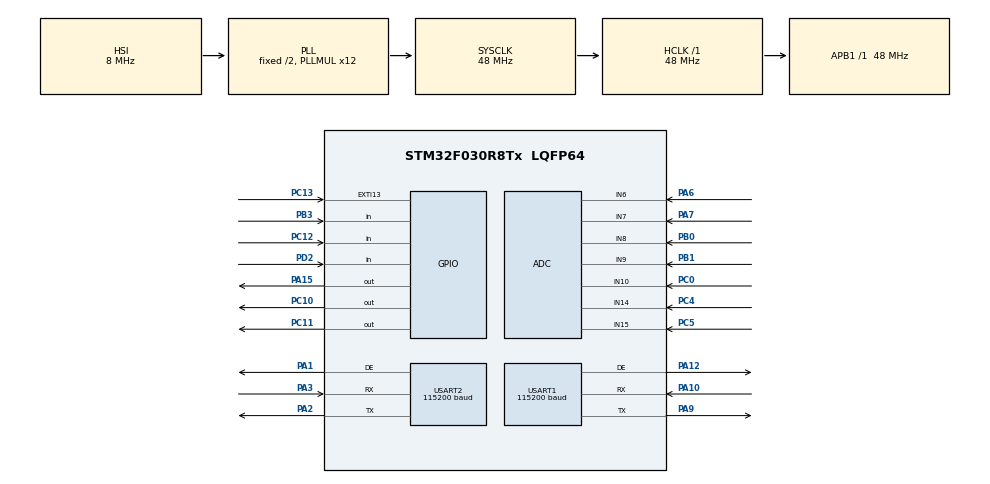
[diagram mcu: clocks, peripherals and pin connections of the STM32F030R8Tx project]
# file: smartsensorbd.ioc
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ADC.ClockPrescaler=ADC_CLOCK_ASYNC_DIV1
ADC.ContinuousConvMode=ENABLE
ADC.DMAContinuousRequests=ENABLE
ADC.EnableAnalogWatchDog=false
ADC.SamplingTime=ADC_SAMPLETIME_239CYCLES_5
ADC.ScanConvMode=ADC_SCAN_DIRECTION_FORWARD
Dma.ADC.0.Direction=DMA_PERIPH_TO_MEMORY
Dma.ADC.0.Instance=DMA1_Channel1
Dma.ADC.0.MemDataAlignment=DMA_MDATAALIGN_HALFWORD
Dma.ADC.0.MemInc=DMA_MINC_ENABLE
Dma.ADC.0.Mode=DMA_CIRCULAR
Dma.ADC.0.PeriphDataAlignment=DMA_PDATAALIGN_HALFWORD
Dma.ADC.0.PeriphInc=DMA_PINC_DISABLE
Dma.ADC.0.Priority=DMA_PRIORITY_LOW
Dma.Request0=ADC
Mcu.Family=STM32F0
Mcu.Name=STM32F030R8Tx
Mcu.Package=LQFP64
NVIC.DMA1_Channel1_IRQn=true\:0\:0\:false\:false\:true\:false\:true\:true
NVIC.USART1_IRQn=true\:0\:0\:false\:false\:true\:true\:true\:true
NVIC.USART2_IRQn=true\:0\:0\:false\:false\:true\:true\:true\:true
PA1.Mode=Hardware Flow Control (RS485)
PA1.Signal=USART2_DE
PA10.Mode=Asynchronous
PA10.Signal=USART1_RX
PA12.Mode=Hardware Flow Control (RS485)
PA12.Signal=USART1_DE
PA13.Mode=Serial_Wire
PA13.Signal=SYS_SWDIO
PA14.Mode=Serial_Wire
PA14.Signal=SYS_SWCLK
PA15.Signal=GPIO_Output
PA2.Mode=Asynchronous
PA2.Signal=USART2_TX
PA3.Mode=Asynchronous
PA3.Signal=USART2_RX
PA6.Mode=IN6
PA6.Signal=ADC_IN6
PA7.Mode=IN7
PA7.Signal=ADC_IN7
PA9.Mode=Asynchronous
PA9.Signal=USART1_TX
PB0.Mode=IN8
PB0.Signal=ADC_IN8
PB1.Mode=IN9
PB1.Signal=ADC_IN9
PB3.Signal=GPIO_Input
PC0.Mode=IN10
PC0.Signal=ADC_IN10
PC10.Signal=GPIO_Output
PC11.Signal=GPIO_Output
PC12.Signal=GPIO_Input
PC13.Signal=GPXTI13
PC4.Mode=IN14
PC4.Signal=ADC_IN14
PC5.Mode=IN15
PC5.Signal=ADC_IN15
PD2.Signal=GPIO_Input
PF0-OSC_IN.Mode=HSE-External-Oscillator
PF0-OSC_IN.Signal=RCC_OSC_IN
PF1-OSC_OUT.Mode=HSE-External-Oscillator
PF1-OSC_OUT.Signal=RCC_OSC_OUT
ProjectManager.HeapSize=0x200
ProjectManager.StackSize=0x400
ProjectManager.TargetToolchain=STM32CubeIDE
RCC.AHBFreq_Value=48000000
RCC.APB1Freq_Value=48000000
RCC.APB1TimFreq_Value=48000000
RCC.HCLKFreq_Value=48000000
RCC.PLLMUL=RCC_PLL_MUL12
RCC.SYSCLKFreq_VALUE=48000000
RCC.SYSCLKSource=RCC_SYSCLKSOURCE_PLLCLK
RCC.Usart1ClockSelection=RCC_USART1CLKSOURCE_HSI
USART1.BaudRate=115200
USART1.VirtualMode-Asynchronous=VM_ASYNC
USART1.VirtualMode-Hardware\ Flow\ Control\ (RS485)=VM_ASYNC
USART2.BaudRate=115200
USART2.VirtualMode-Asynchronous=VM_ASYNC
USART2.VirtualMode-Hardware\ Flow\ Control\ (RS485)=VM_ASYNC
board=custom

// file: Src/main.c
/* USER CODE BEGIN Header */
/**
  ******************************************************************************
  * @file           : main.c
  * @brief          : Main program body
  ******************************************************************************
  * @attention
  *
  * Copyright (c) 2023 STMicroelectronics.
  * All rights reserved.
  *
  * This software is licensed under terms that can be found in the LICENSE file
  * in the root directory of this software component.
  * If no LICENSE file comes with this software, it is provided AS-IS.
  *
  ******************************************************************************
  */
/* USER CODE END Header */
#include "main.h"

/* USER CODE BEGIN Includes */
#include "RS485.h"
#include "RS485_2.h"
#include "keyscan.h"
/* USER CODE END Includes */

ADC_HandleTypeDef hadc;
DMA_HandleTypeDef hdma_adc;

UART_HandleTypeDef huart1;
UART_HandleTypeDef huart2;

void SystemClock_Config(void);
static void MX_GPIO_Init(void);
static void MX_DMA_Init(void);
static void MX_ADC_Init(void);
static void MX_USART1_UART_Init(void);
static void MX_USART2_UART_Init(void);
/* USER CODE BEGIN PFP */
void Timer_Proc(void);
#define UART_TIMEOUT 100
#define BUFFER_SIZE 16

/* USER CODE END PFP */

/* USER CODE BEGIN 0 */
__IO uint16_t RegularConvData_Tab[7] = {0,};

/* USER CODE END 0 */

int main(void)
{

  /* MCU Configuration--------------------------------------------------------*/

  /* Reset of all peripherals, Initializes the Flash interface and the Systick. */
  HAL_Init();

  /* Configure the system clock */
  SystemClock_Config();

  /* Initialize all configured peripherals */
  MX_GPIO_Init();
  MX_DMA_Init();
  MX_ADC_Init();
  /* USER CODE BEGIN 2 */
  MX_USART1_UART_Init();
  MX_USART2_UART_Init();

//  HAL_ADC_Start_DMA(&hadc, (uint32_t *)RegularConvData_Tab, 7);
  /* USER CODE END 2 */

  /* Infinite loop */
  /* USER CODE BEGIN WHILE */
  while (1)
  {
	  Timer_Proc();
	  Rs485_proc();
	  GSen485_2_Proc();
	  keyprocess();
    oputputprocess();
    /* USER CODE END WHILE */

  }
}

void SystemClock_Config(void)
{
  RCC_OscInitTypeDef RCC_OscInitStruct = {0};
  RCC_ClkInitTypeDef RCC_ClkInitStruct = {0};
  RCC_PeriphCLKInitTypeDef PeriphClkInit = {0};

  /** Initializes the RCC Oscillators according to the specified parameters
  * in the RCC_OscInitTypeDef structure.
  */
  RCC_OscInitStruct.OscillatorType = RCC_OSCILLATORTYPE_HSI|RCC_OSCILLATORTYPE_HSI14;
  RCC_OscInitStruct.HSIState = RCC_HSI_ON;
  RCC_OscInitStruct.HSI14State = RCC_HSI14_ON;
  RCC_OscInitStruct.HSICalibrationValue = RCC_HSICALIBRATION_DEFAULT;
  RCC_OscInitStruct.HSI14CalibrationValue = 16;
  RCC_OscInitStruct.PLL.PLLState = RCC_PLL_ON;
  RCC_OscInitStruct.PLL.PLLSource = RCC_PLLSOURCE_HSI;
  RCC_OscInitStruct.PLL.PLLMUL = RCC_PLL_MUL12;
  RCC_OscInitStruct.PLL.PREDIV = RCC_PREDIV_DIV1;
  if (HAL_RCC_OscConfig(&RCC_OscInitStruct) != HAL_OK)
  {
    Error_Handler();
  }

  /** Initializes the CPU, AHB and APB buses clocks
  */
  RCC_ClkInitStruct.ClockType = RCC_CLOCKTYPE_HCLK|RCC_CLOCKTYPE_SYSCLK
                              |RCC_CLOCKTYPE_PCLK1;
  RCC_ClkInitStruct.SYSCLKSource = RCC_SYSCLKSOURCE_PLLCLK;
  RCC_ClkInitStruct.AHBCLKDivider = RCC_SYSCLK_DIV1;
  RCC_ClkInitStruct.APB1CLKDivider = RCC_HCLK_DIV1;

  if (HAL_RCC_ClockConfig(&RCC_ClkInitStruct, FLASH_LATENCY_1) != HAL_OK)
  {
    Error_Handler();
  }
  PeriphClkInit.PeriphClockSelection = RCC_PERIPHCLK_USART1;
  PeriphClkInit.Usart1ClockSelection = RCC_USART1CLKSOURCE_HSI;
  if (HAL_RCCEx_PeriphCLKConfig(&PeriphClkInit) != HAL_OK)
  {
    Error_Handler();
  }
}

static void MX_ADC_Init(void)
{

  ADC_ChannelConfTypeDef sConfig = {0};

  /** Configure the global features of the ADC (Clock, Resolution, Data Alignment and number of conversion)
  */
  hadc.Instance = ADC1;
  hadc.Init.ClockPrescaler = ADC_CLOCK_ASYNC_DIV1;
  hadc.Init.Resolution = ADC_RESOLUTION_12B;
  hadc.Init.DataAlign = ADC_DATAALIGN_RIGHT;
  hadc.Init.ScanConvMode = ADC_SCAN_DIRECTION_FORWARD;
  hadc.Init.EOCSelection = ADC_EOC_SINGLE_CONV;
  hadc.Init.LowPowerAutoWait = DISABLE;
  hadc.Init.LowPowerAutoPowerOff = DISABLE;
  hadc.Init.ContinuousConvMode = ENABLE;
  hadc.Init.DiscontinuousConvMode = DISABLE;
  hadc.Init.ExternalTrigConv = ADC_SOFTWARE_START;
  hadc.Init.ExternalTrigConvEdge = ADC_EXTERNALTRIGCONVEDGE_NONE;
  hadc.Init.DMAContinuousRequests = ENABLE;
  hadc.Init.Overrun = ADC_OVR_DATA_PRESERVED;
  if (HAL_ADC_Init(&hadc) != HAL_OK)
  {
    Error_Handler();
  }

  /** Configure for the selected ADC regular channel to be converted.
  */
  sConfig.Channel = ADC_CHANNEL_6;
  sConfig.Rank = ADC_RANK_CHANNEL_NUMBER;
  sConfig.SamplingTime = ADC_SAMPLETIME_239CYCLES_5;
  if (HAL_ADC_ConfigChannel(&hadc, &sConfig) != HAL_OK)
  {
    Error_Handler();
  }

  /** Configure for the selected ADC regular channel to be converted.
  */
  sConfig.Channel = ADC_CHANNEL_7;
  if (HAL_ADC_ConfigChannel(&hadc, &sConfig) != HAL_OK)
  {
    Error_Handler();
  }

  /** Configure for the selected ADC regular channel to be converted.
  */
  sConfig.Channel = ADC_CHANNEL_8;
  if (HAL_ADC_ConfigChannel(&hadc, &sConfig) != HAL_OK)
  {
    Error_Handler();
  }

  /** Configure for the selected ADC regular channel to be converted.
  */
  sConfig.Channel = ADC_CHANNEL_9;
  if (HAL_ADC_ConfigChannel(&hadc, &sConfig) != HAL_OK)
  {
    Error_Handler();
  }

  /** Configure for the selected ADC regular channel to be converted.
  */
  sConfig.Channel = ADC_CHANNEL_10;
  if (HAL_ADC_ConfigChannel(&hadc, &sConfig) != HAL_OK)
  {
    Error_Handler();
  }

  /** Configure for the selected ADC regular channel to be converted.
  */
  sConfig.Channel = ADC_CHANNEL_14;
  if (HAL_ADC_ConfigChannel(&hadc, &sConfig) != HAL_OK)
  {
    Error_Handler();
  }

  /** Configure for the selected ADC regular channel to be converted.
  */
  sConfig.Channel = ADC_CHANNEL_15;
  if (HAL_ADC_ConfigChannel(&hadc, &sConfig) != HAL_OK)
  {
    Error_Handler();
  }
  /* USER CODE BEGIN ADC_Init 2 */
  HAL_ADCEx_Calibration_Start(&hadc);
  while(HAL_ADC_GetState(&hadc) != HAL_ADC_STATE_READY);
  HAL_ADC_Start_DMA(&hadc, (uint32_t *)RegularConvData_Tab, 7);
//
  /* USER CODE END ADC_Init 2 */

}

static void MX_USART1_UART_Init(void)
{

  huart1.Instance = USART1;
  huart1.Init.BaudRate = 115200;
  huart1.Init.WordLength = UART_WORDLENGTH_8B;
  huart1.Init.StopBits = UART_STOPBITS_1;
  huart1.Init.Parity = UART_PARITY_NONE;
  huart1.Init.Mode = UART_MODE_TX_RX;
  huart1.Init.HwFlowCtl = UART_HWCONTROL_NONE;
  huart1.Init.OverSampling = UART_OVERSAMPLING_16;
  huart1.Init.OneBitSampling = UART_ONE_BIT_SAMPLE_DISABLE;
  huart1.AdvancedInit.AdvFeatureInit = UART_ADVFEATURE_NO_INIT;
  if (HAL_RS485Ex_Init(&huart1, UART_DE_POLARITY_HIGH, 0, 0) != HAL_OK)
  {
    Error_Handler();
  }
  /* USER CODE BEGIN USART1_Init 2 */
  SET_BIT(USART1->CR1, USART_CR1_RXNEIE);
  /* USER CODE END USART1_Init 2 */

}

static void MX_USART2_UART_Init(void)
{

  huart2.Instance = USART2;
  huart2.Init.BaudRate = 115200;
  huart2.Init.WordLength = UART_WORDLENGTH_8B;
  huart2.Init.StopBits = UART_STOPBITS_1;
  huart2.Init.Parity = UART_PARITY_NONE;
  huart2.Init.Mode = UART_MODE_TX_RX;
  huart2.Init.HwFlowCtl = UART_HWCONTROL_NONE;
  huart2.Init.OverSampling = UART_OVERSAMPLING_16;
  huart2.Init.OneBitSampling = UART_ONE_BIT_SAMPLE_DISABLE;
  huart2.AdvancedInit.AdvFeatureInit = UART_ADVFEATURE_NO_INIT;
  if (HAL_RS485Ex_Init(&huart2, UART_DE_POLARITY_HIGH, 0, 0) != HAL_OK)
  {
    Error_Handler();
  }
  /* USER CODE BEGIN USART2_Init 2 */
  SET_BIT(USART2->CR1, USART_CR1_RXNEIE);
  /* USER CODE END USART2_Init 2 */

}

static void MX_DMA_Init(void)
{

  /* DMA controller clock enable */
  __HAL_RCC_DMA1_CLK_ENABLE();

  /* DMA interrupt init */
  /* DMA1_Channel1_IRQn interrupt configuration */
  HAL_NVIC_SetPriority(DMA1_Channel1_IRQn, 0, 0);
  HAL_NVIC_EnableIRQ(DMA1_Channel1_IRQn);

}

static void MX_GPIO_Init(void)
{
  GPIO_InitTypeDef GPIO_InitStruct = {0};

  /* GPIO Ports Clock Enable */
  __HAL_RCC_GPIOC_CLK_ENABLE();
  __HAL_RCC_GPIOF_CLK_ENABLE();
  __HAL_RCC_GPIOA_CLK_ENABLE();
  __HAL_RCC_GPIOB_CLK_ENABLE();
  __HAL_RCC_GPIOD_CLK_ENABLE();

  /*Configure GPIO pin Output Level */
  HAL_GPIO_WritePin(GPIOA, GPIO_PIN_15, GPIO_PIN_RESET);

  /*Configure GPIO pin Output Level */
  HAL_GPIO_WritePin(GPIOC, GPIO_PIN_10|GPIO_PIN_11, GPIO_PIN_RESET);

  /*Configure GPIO pin : PC13 */
  GPIO_InitStruct.Pin = GPIO_PIN_13;
  GPIO_InitStruct.Mode = GPIO_MODE_IT_RISING;
  GPIO_InitStruct.Pull = GPIO_NOPULL;
  HAL_GPIO_Init(GPIOC, &GPIO_InitStruct);

  /*Configure GPIO pin : PA15 */
  GPIO_InitStruct.Pin = GPIO_PIN_15;
  GPIO_InitStruct.Mode = GPIO_MODE_OUTPUT_PP;
  GPIO_InitStruct.Pull = GPIO_NOPULL;
  GPIO_InitStruct.Speed = GPIO_SPEED_FREQ_LOW;
  HAL_GPIO_Init(GPIOA, &GPIO_InitStruct);

  /*Configure GPIO pins : PC10 PC11 */
  GPIO_InitStruct.Pin = GPIO_PIN_10|GPIO_PIN_11;
  GPIO_InitStruct.Mode = GPIO_MODE_OUTPUT_PP;
  GPIO_InitStruct.Pull = GPIO_NOPULL;
  GPIO_InitStruct.Speed = GPIO_SPEED_FREQ_LOW;
  HAL_GPIO_Init(GPIOC, &GPIO_InitStruct);

  /*Configure GPIO pin : PC12 */
  GPIO_InitStruct.Pin = GPIO_PIN_12;
  GPIO_InitStruct.Mode = GPIO_MODE_INPUT;
  GPIO_InitStruct.Pull = GPIO_NOPULL;
  HAL_GPIO_Init(GPIOC, &GPIO_InitStruct);

  /*Configure GPIO pin : PD2 */
  GPIO_InitStruct.Pin = GPIO_PIN_2;
  GPIO_InitStruct.Mode = GPIO_MODE_INPUT;
  GPIO_InitStruct.Pull = GPIO_NOPULL;
  HAL_GPIO_Init(GPIOD, &GPIO_InitStruct);

  /*Configure GPIO pin : PB3 */
  GPIO_InitStruct.Pin = GPIO_PIN_3;
  GPIO_InitStruct.Mode = GPIO_MODE_INPUT;
  GPIO_InitStruct.Pull = GPIO_NOPULL;
  HAL_GPIO_Init(GPIOB, &GPIO_InitStruct);

}

void Error_Handler(void)
{
  __disable_irq();
  while (1)
  {
  }
}
